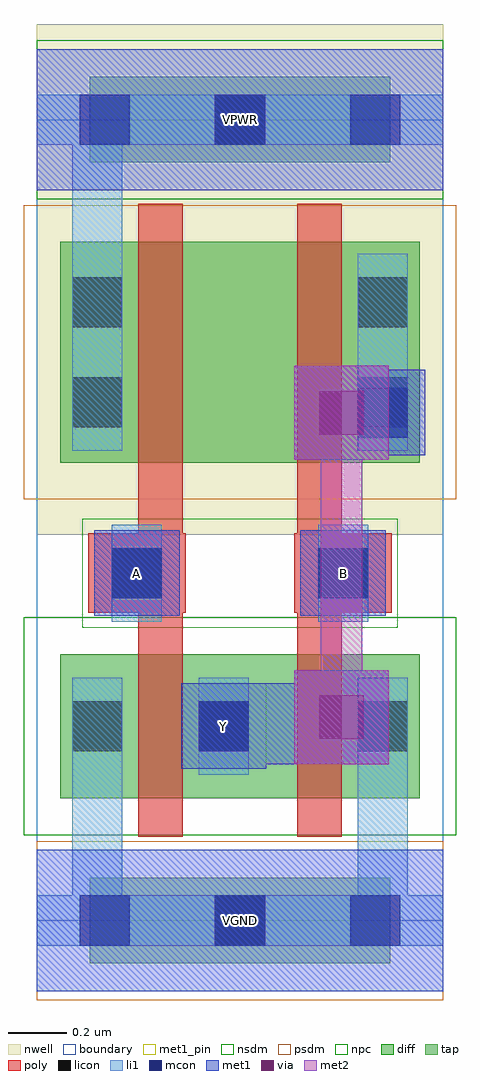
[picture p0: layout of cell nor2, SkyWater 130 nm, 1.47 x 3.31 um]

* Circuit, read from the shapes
.subckt nor2 A B VGND VPWR Y
XM1 Y A VGND VGND sky130_fd_pr__nfet_01v8 w=0.49 l=0.15
XM2 VGND B Y VGND sky130_fd_pr__nfet_01v8 w=0.49 l=0.15
XM3 n1 A VPWR VPWR sky130_fd_pr__pfet_01v8 w=0.75 l=0.15
XM4 Y B n1 VPWR sky130_fd_pr__pfet_01v8 w=0.75 l=0.15
.ends

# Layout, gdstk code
import gdstk
lib = gdstk.Library(unit=1e-6, precision=1e-09)
def R(c, l, rs):  # rectangles x0, y0, x1, y1
    for r in rs: c.add(gdstk.rectangle(r[:2], r[2:], *l))
def A(c, l, x, y, w, h, nx, ny, dx, dy):  # array of equal rectangles
    R(c, l, [(x+i*dx, y+j*dy, x+i*dx+w, y+j*dy+h) for i in range(nx) for j in range(ny)])
nwell = (64, 20)
diff = (65, 20)
tap = (65, 44)
poly = (66, 20)
licon = (66, 44)
li1 = (67, 20)
mcon = (67, 44)
met1_pin = (68, 16)
met1 = (68, 20)
via = (68, 44)
met2 = (69, 20)
nsdm = (93, 44)
psdm = (94, 20)
npc = (95, 20)
boundary = (235, 4)

nor2 = lib.new_cell('nor2')
R(nor2, nwell, [(0,1.31,1.38,3.045)])
R(nor2, diff, [(0.08,0.415,1.3,0.905), (0.08,1.555,1.3,2.305)])
R(nor2, tap, [(0.18,-0.145,1.2,0.145), (0.18,2.575,1.2,2.865)])
R(nor2, poly, [(0.345,0.285,0.495,2.435), (0.885,0.285,1.035,2.435), (0.175,1.045,0.505,1.315), (0.875,1.045,1.205,1.315)])
R(nor2, licon, [(0.605,-0.085,0.775,0.085), (0.12,0.575,0.29,0.745), (0.55,0.575,0.72,0.745), (1.09,0.575,1.26,0.745), (0.255,1.095,0.425,1.265), (0.955,1.095,1.125,1.265), (0.12,1.675,0.29,1.845), (1.09,1.675,1.26,1.845), (0.12,2.015,0.29,2.185), (1.09,2.015,1.26,2.185), (0.605,2.635,0.775,2.805)])
R(nor2, li1, [(0,-0.085,1.38,0.085), (0.12,-0.085,0.29,0.825), (1.09,-0.085,1.26,0.825), (0.12,0.495,0.29,0.825), (0.55,0.495,0.72,0.825), (1.09,0.495,1.26,0.825), (0.255,1.015,0.425,1.345), (0.955,1.015,1.125,1.345), (0.12,1.595,0.29,2.265), (0.12,1.595,0.29,2.805), (1.09,1.595,1.26,2.265), (0,2.635,1.38,2.805)])
A(nor2, mcon, 0.145, -0.085, 0.17, 0.17, 3, 2, 0.46, 2.72)
R(nor2, mcon, [(0.55,0.575,0.72,0.745), (0.255,1.095,0.425,1.265), (0.955,1.095,1.125,1.265), (1.09,1.64,1.26,1.81)])
R(nor2, met1_pin, [(0,-0.24,1.38,0.24), (0.49,0.515,0.78,0.805), (0.195,1.035,0.485,1.325), (0.895,1.035,1.185,1.325), (0,2.48,1.38,2.96)])
R(nor2, met1, [(0,-0.24,1.38,0.24), (0.49,0.515,0.78,0.805), (0.78,0.53,0.875,0.805), (0.78,0.53,0.875,0.805), (0.78,0.53,0.875,0.805), (0.875,0.53,1.195,0.85), (0.62,0.62,0.76,0.76), (0.62,0.62,1.105,0.76), (0.76,0.62,0.875,0.76), (0.76,0.62,0.875,0.76), (0.76,0.62,0.875,0.76), (0.76,0.62,0.875,0.76), (0.76,0.62,0.875,0.76), (0.76,0.62,0.875,0.76), (0.76,0.62,0.78,0.76), (0.76,0.62,0.78,0.76), (0.76,0.62,0.78,0.76), (0.76,0.62,0.78,0.76), (0.76,0.62,0.78,0.76), (0.76,0.62,0.78,0.76), (0.78,0.62,0.875,0.76), (0.78,0.62,0.875,0.76), (0.78,0.62,0.875,0.76), (0.78,0.62,0.875,0.76), (0.195,1.035,0.485,1.325), (0.895,1.035,1.185,1.325), (0.875,1.565,1.195,1.885), (1.03,1.58,1.32,1.87), (0.965,1.655,1.245,1.795), (0,2.48,1.38,2.96)])
R(nor2, via, [(0.96,0.615,1.11,0.765), (0.96,1.65,1.11,1.8)])
R(nor2, met2, [(0.875,0.53,1.195,0.85), (0.965,0.62,1.105,1.795), (0.875,1.565,1.195,1.885)])
R(nor2, nsdm, [(-0.045,0.29,1.425,1.03), (0,2.45,1.38,2.99)])
R(nor2, psdm, [(0,-0.27,1.38,0.27), (-0.045,1.43,1.425,2.43)])
R(nor2, npc, [(0.155,0.995,1.225,1.365)])
R(nor2, boundary, [(0,0,1.38,2.72)])
nor2.add(gdstk.Label('A', (0.34,1.18), layer=68, texttype=5))
nor2.add(gdstk.Label('B', (1.04,1.18), layer=68, texttype=5))
nor2.add(gdstk.Label('Y', (0.635,0.66), layer=68, texttype=5))
nor2.add(gdstk.Label('VPWR', (0.69,2.72), layer=68, texttype=5))
nor2.add(gdstk.Label('VGND', (0.69,0), layer=68, texttype=5))
nor2.add(gdstk.Label('A', (0.34,1.18), layer=68, texttype=16))
nor2.add(gdstk.Label('B', (1.04,1.18), layer=68, texttype=16))
nor2.add(gdstk.Label('Y', (0.635,0.66), layer=68, texttype=16))
nor2.add(gdstk.Label('VPWR', (0.69,2.72), layer=68, texttype=16))
nor2.add(gdstk.Label('VGND', (0.69,0), layer=68, texttype=16))

lib.write_gds('nor2.gds')
